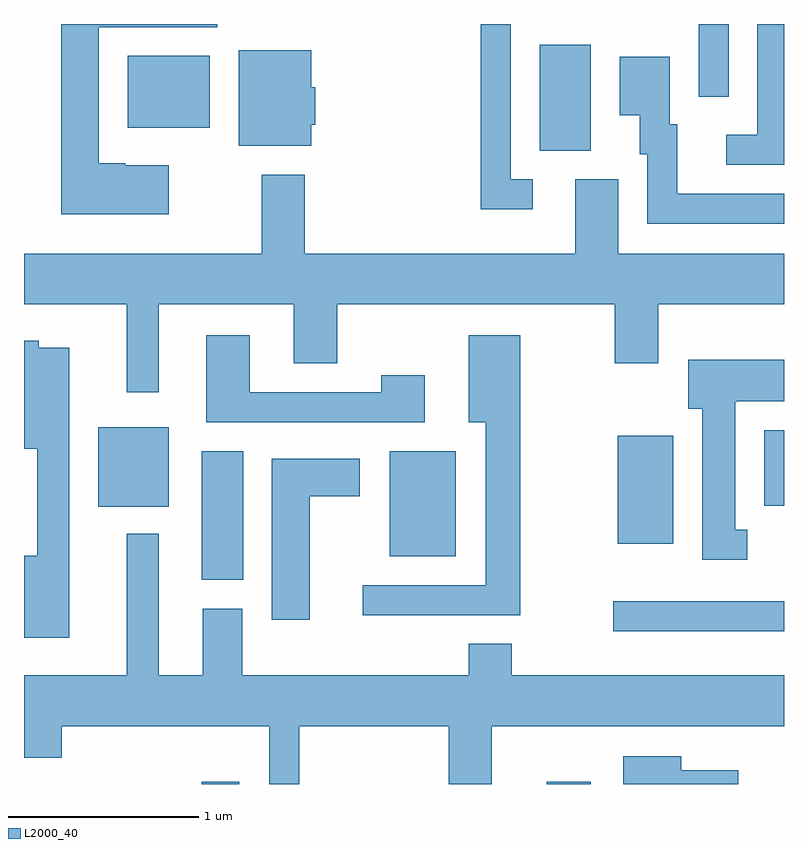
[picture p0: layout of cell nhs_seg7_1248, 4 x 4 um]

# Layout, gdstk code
import gdstk
lib = gdstk.Library(unit=1e-6, precision=1e-09)
def R(c, l, rs):  # rectangles x0, y0, x1, y1
    for r in rs: c.add(gdstk.rectangle(r[:2], r[2:], *l))
def P(c, l, *ps):  # polygons
    for p in ps: c.add(gdstk.Polygon(p, *l))
L2000_40 = (2000, 40)

nhs_seg7_1248 = lib.new_cell('nhs_seg7_1248')
R(nhs_seg7_1248, L2000_40, [(224.546,1696.252,224.744,1696.264), (226.361,1696.252,226.594,1696.264), (226.713,1697.056,227.611,1697.214), (224.546,1697.326,224.764,1698.004), (225.536,1697.451,225.884,1698.004), (226.736,1697.516,227.029,1698.084), (224.001,1697.711,224.374,1698.129), (227.506,1697.716,227.611,1698.114), (226.326,1699.586,226.594,1700.144), (224.156,1699.706,224.589,1700.084), (227.161,1699.868,227.319,1700.252)])
P(nhs_seg7_1248, L2000_40, [(224.374,1699.509),(224.145,1699.509),(224.145,1699.519),(224.004,1699.519),(224.004,1700.236),(224.629,1700.236),(224.629,1700.252),(223.806,1700.252),(223.806,1699.251),(224.374,1699.251)],
  [(227.611,1700.252),(227.471,1700.252),(227.471,1699.669),(227.308,1699.669),(227.308,1699.511),(227.611,1699.511)],
  [(226.288,1699.434),(226.174,1699.434),(226.174,1700.252),(226.016,1700.252),(226.016,1699.276),(226.288,1699.276)],
  [(225.124,1699.721),(225.144,1699.721),(225.144,1699.919),(225.124,1699.919),(225.124,1700.114),(224.741,1700.114),(224.741,1699.611),(225.124,1699.611)],
  [(227.611,1699.359),(227.049,1699.359),(227.049,1699.724),(227.009,1699.724),(227.009,1700.079),(226.746,1700.079),(226.746,1699.771),(226.851,1699.771),(226.851,1699.566),(226.891,1699.566),(226.891,1699.201),(227.611,1699.201)],
  [(224.319,1698.776),(225.031,1698.776),(225.031,1698.466),(225.259,1698.466),(225.259,1698.776),(226.721,1698.776),(226.721,1698.466),(226.949,1698.466),(226.949,1698.776),(227.611,1698.776),(227.611,1699.044),(226.739,1699.044),(226.739,1699.434),(226.511,1699.434),(226.511,1699.044),(225.089,1699.044),(225.089,1699.459),(224.861,1699.459),(224.861,1699.044),(223.611,1699.044),(223.611,1698.776),(224.151,1698.776),(224.151,1698.313),(224.319,1698.313)],
  [(225.719,1698.404),(225.491,1698.404),(225.491,1698.314),(224.799,1698.314),(224.799,1698.614),(224.571,1698.614),(224.571,1698.156),(225.719,1698.156)],
  [(226.224,1698.614),(225.951,1698.614),(225.951,1698.156),(226.041,1698.156),(226.041,1697.299),(225.393,1697.299),(225.393,1697.141),(226.224,1697.141)],
  [(223.849,1698.549),(223.689,1698.549),(223.689,1698.584),(223.611,1698.584),(223.611,1698.016),(223.681,1698.016),(223.681,1697.454),(223.611,1697.454),(223.611,1697.021),(223.849,1697.021)],
  [(227.418,1697.589),(227.354,1697.589),(227.354,1698.26),(227.36,1698.26),(227.36,1698.266),(227.611,1698.266),(227.611,1698.484),(227.106,1698.484),(227.106,1698.226),(227.181,1698.226),(227.181,1697.431),(227.418,1697.431)],
  [(225.114,1697.766),(225.379,1697.766),(225.379,1697.964),(224.916,1697.964),(224.916,1697.116),(225.114,1697.116)],
  [(225.059,1696.556),(225.846,1696.556),(225.846,1696.252),(226.074,1696.252),(226.074,1696.556),(227.611,1696.556),(227.611,1696.824),(226.179,1696.824),(226.179,1696.989),(225.951,1696.989),(225.951,1696.824),(224.759,1696.824),(224.759,1697.174),(224.551,1697.174),(224.551,1696.824),(224.319,1696.824),(224.319,1697.568),(224.151,1697.568),(224.151,1696.824),(223.611,1696.824),(223.611,1696.391),(223.809,1696.391),(223.809,1696.556),(224.901,1696.556),(224.901,1696.252),(225.059,1696.252)],
  [(227.369,1696.324),(227.069,1696.324),(227.069,1696.399),(226.766,1696.399),(226.766,1696.252),(227.369,1696.252)])

lib.write_gds('nhs_seg7_1248.gds')
